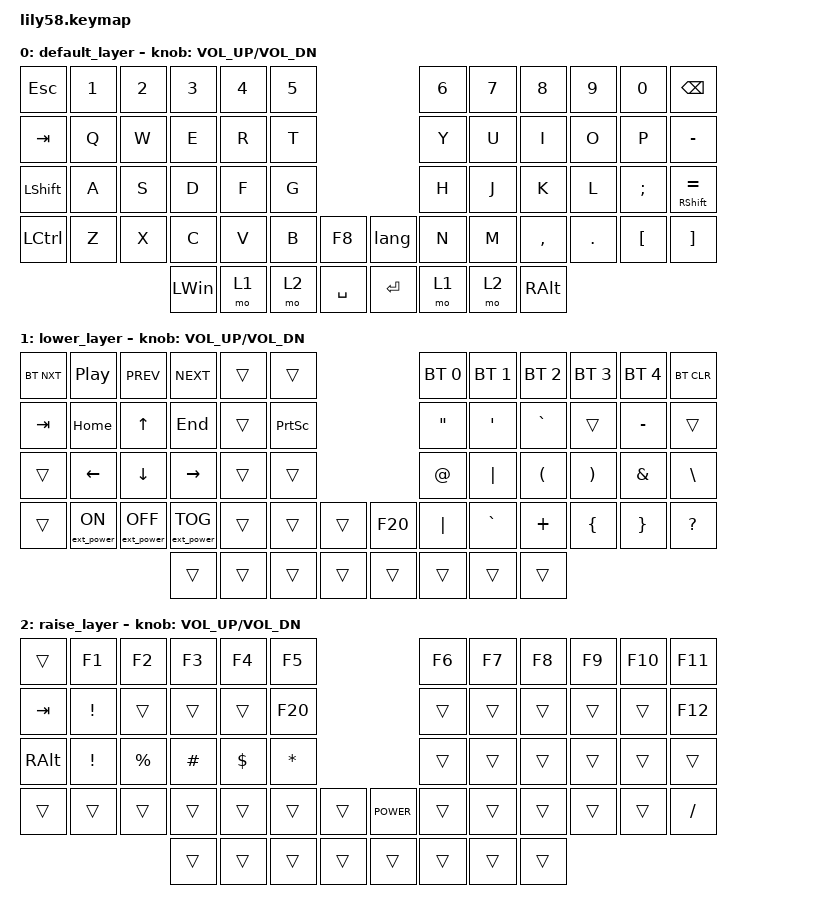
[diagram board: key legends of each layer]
/*
 * Copyright (c) 2020 The ZMK Contributors
 *
 * SPDX-License-Identifier: MIT
 */

#include <behaviors.dtsi>
#include <dt-bindings/zmk/bt.h>
#include <dt-bindings/zmk/ext_power.h>
#include <dt-bindings/zmk/keys.h>

/ {
    macros {
        lang: lang {
            compatible = "zmk,behavior-macro";
            #binding-cells = <0>;
            bindings = <&macro_tap>, <&kp LS(LEFT_CONTROL)>;

            label = "LANG";
        };
    };

    behaviors {
        tap_hold: tap_hold {
            compatible = "zmk,behavior-hold-tap";
            label = "TAP_HOLD";
            bindings = <&kp>, <&kp>;

            #binding-cells = <2>;
            tapping-term-ms = <500>;
        };
    };

    keymap {
        compatible = "zmk,keymap";

        default_layer {
            // ------------------------------------------------------------------------------------------------------------
            // |  ESC  |  1  |  2  |  3   |  4   |  5   |                   |  6   |  7    |  8    |  9   |   0   |   `   |
            // |  TAB  |  Q  |  W  |  E   |  R   |  T   |                   |  Y   |  U    |  I    |  O   |   P   |   -   |
            // |  CTRL |  A  |  S  |  D   |  F   |  G   |                   |  H   |  J    |  K    |  L   |   ;   |   '   |
            // | SHIFT |  Z  |  X  |  C   |  V   |  B   |   "["  |  |  "]"  |  N   |  M    |  ,    |  .   |   /   | SHIFT |
            //                     | ALT  | GUI  | LOWER|  SPACE |  | ENTER | RAISE| BSPC  | GUI   |

            bindings = <
&kp ESC           &kp N1  &kp N2  &kp N3        &kp N4  &kp N5                        &kp N6  &kp N7  &kp N8         &kp N9   &kp N0            &kp BACKSPACE
&kp TAB           &kp Q   &kp W   &kp E         &kp R   &kp T                         &kp Y   &kp U   &kp I          &kp O    &kp P             &kp MINUS
&kp LEFT_SHIFT    &kp A   &kp S   &kp D         &kp F   &kp G                         &kp H   &kp J   &kp K          &kp L    &kp SEMI          &mt RIGHT_SHIFT EQUAL
&kp LEFT_CONTROL  &kp Z   &kp X   &kp C         &kp V   &kp B   &kp F8       &lang    &kp N   &kp M   &kp COMMA      &kp DOT  &kp LEFT_BRACKET  &kp RIGHT_BRACKET
                                  &kp LEFT_WIN  &mo 1   &mo 2   &kp SPACE    &kp RET  &mo 1   &mo 2   &kp RIGHT_ALT
            >;

            sensor-bindings = <&inc_dec_kp C_VOL_UP C_VOL_DN>;
        };

        lower_layer {
            // ------------------------------------------------------------------------------------------------------------
            // | BTCLR | BT1 | BT2 |  BT3 |  BT4 |  BT5 |                   |      |       |       |      |       |       |
            // |  F1   |  F2 |  F3 |  F4  |  F5  |  F6  |                   |  F7  |  F8   |  F9   |  F10 |  F11  |  F12  |
            // |   `   |  !  |  @  |  #   |  $   |  %   |                   |  ^   |  &    |  *    |  (   |   )   |   ~   |
            // |       |     |     |      |      |      |        |  |       |      |  _    |  +    |  {   |   }   |  "|"  |
            //                     |      |      |      |        |  |       |      |       |       |

            bindings = <
&bt BT_NXT  &kp C_PLAY_PAUSE  &kp K_PREV         &kp K_NEXT         &trans  &trans                              &bt BT_SEL 0       &bt BT_SEL 1      &bt BT_SEL 2          &bt BT_SEL 3           &bt BT_SEL 4   &bt BT_CLR
&kp TAB     &kp HOME          &kp UP_ARROW       &kp END            &trans  &kp PRINTSCREEN                     &kp DOUBLE_QUOTES  &kp SINGLE_QUOTE  &kp GRAVE             &trans                 &kp MINUS      &trans
&trans      &kp LEFT_ARROW    &kp DOWN_ARROW     &kp RIGHT_ARROW    &trans  &trans                              &kp AT             &kp PIPE          &kp LEFT_PARENTHESIS  &kp RIGHT_PARENTHESIS  &kp AMPERSAND  &kp BACKSLASH
&trans      &ext_power EP_ON  &ext_power EP_OFF  &ext_power EP_TOG  &trans  &trans           &trans    &kp F20  &kp PIPE           &kp GRAVE         &kp PLUS              &kp LBRC               &kp RBRC       &kp QUESTION
                                                 &trans             &trans  &trans           &trans    &trans   &trans             &trans            &trans
            >;

            sensor-bindings = <&inc_dec_kp C_VOL_UP C_VOL_DN>;
        };

        raise_layer {
            // ------------------------------------------------------------------------------------------------------------
            // |       |     |     |      |      |      |                   |      |       |       |      |       |       |
            // |   `   |  1  |  2  |  3   |  4   |  5   |                   |  6   |   7   |   8   |  9   |   0   |       |
            // |   F1  |  F2 |  F3 |  F4  |  F5  |  F6  |                   |      |   <-  |   v   |  ^   |  ->   |       |
            // |   F7  |  F8 |  F9 |  F10 |  F11 |  F12 |        |  |       |  +   |   -   |   =   |  [   |   ]   |   \   |
            //                     |      |      |      |        |  |       |      |       |       |

            bindings = <
&trans    &kp F1    &kp F2       &kp F3    &kp F4      &kp F5                            &kp F6  &kp F7  &kp F8  &kp F9  &kp F10  &kp F11
&kp TAB   &kp EXCL  &trans       &trans    &trans      &kp F20                           &trans  &trans  &trans  &trans  &trans   &kp F12
&kp RALT  &kp EXCL  &kp PERCENT  &kp HASH  &kp DOLLAR  &kp ASTRK                         &trans  &trans  &trans  &trans  &trans   &trans
&trans    &trans    &trans       &trans    &trans      &trans     &trans    &kp C_POWER  &trans  &trans  &trans  &trans  &trans   &kp SLASH
                                 &trans    &trans      &trans     &trans    &trans       &trans  &trans  &trans
            >;

            sensor-bindings = <&inc_dec_kp C_VOL_UP C_VOL_DN>;
        };
    };
};
